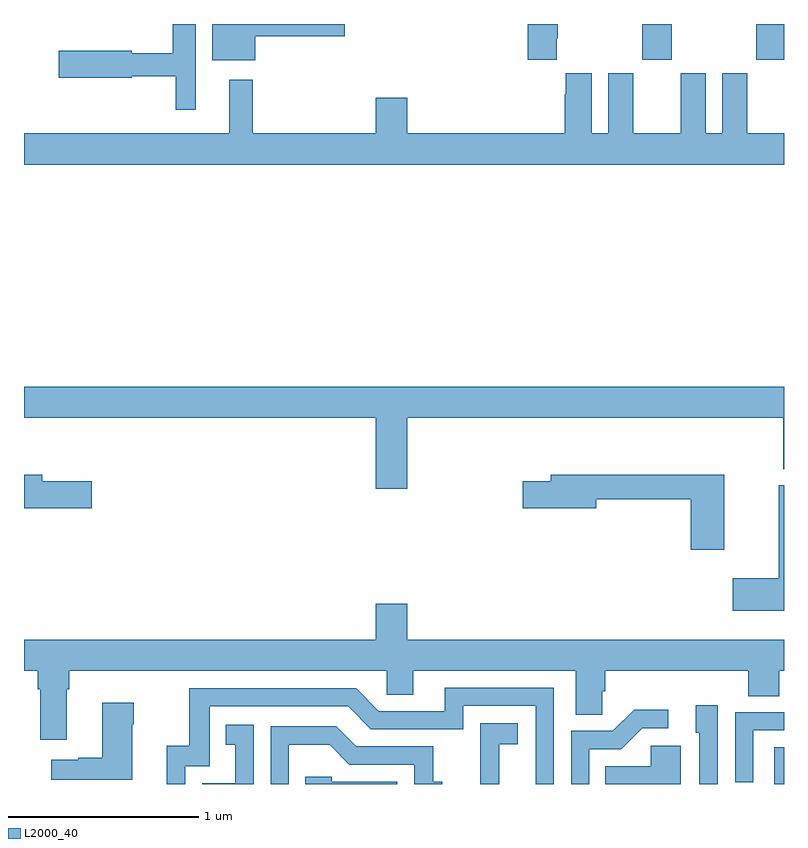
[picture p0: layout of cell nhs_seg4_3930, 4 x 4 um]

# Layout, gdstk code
import gdstk
lib = gdstk.Library(unit=1e-6, precision=1e-09)
def R(c, l, rs):  # rectangles x0, y0, x1, y1
    for r in rs: c.add(gdstk.rectangle(r[:2], r[2:], *l))
def P(c, l, *ps):  # polygons
    for p in ps: c.add(gdstk.Polygon(p, *l))
L2000_40 = (2000, 40)

nhs_seg4_3930 = lib.new_cell('nhs_seg4_3930')
R(nhs_seg4_3930, L2000_40, [(322.949,786.9,323,787.093), (322.255,790.713,322.41,790.9), (322.855,790.713,323,790.9)])
P(nhs_seg4_3930, L2000_40, [(319.903,790.9),(319.782,790.9),(319.782,790.747),(319.566,790.747),(319.566,790.76),(319.182,790.76),(319.182,790.618),(319.566,790.618),(319.566,790.626),(319.799,790.626),(319.799,790.449),(319.903,790.449)],
  [(321.805,790.825),(321.81,790.825),(321.81,790.9),(321.65,790.9),(321.65,790.713),(321.805,790.713)],
  [(320.218,790.835),(320.689,790.835),(320.689,790.9),(319.991,790.9),(319.991,790.709),(320.218,790.709)],
  [(322.457,790.642),(322.457,790.324),(322.207,790.324),(322.207,790.642),(322.076,790.642),(322.076,790.324),(321.988,790.324),(321.988,790.642),(321.851,790.642),(321.851,790.529),(321.845,790.529),(321.845,790.324),(321.016,790.324),(321.016,790.513),(320.852,790.513),(320.852,790.324),(320.203,790.324),(320.203,790.606),(320.081,790.606),(320.081,790.324),(319,790.324),(319,790.16),(323,790.16),(323,790.324),(322.807,790.324),(322.807,790.642),(322.676,790.642),(322.676,790.324),(322.588,790.324),(322.588,790.642)],
  [(321.016,788.828),(322.995,788.828),(322.995,788.557),(323,788.557),(323,788.992),(319,788.992),(319,788.828),(320.852,788.828),(320.852,788.454),(321.016,788.454)],
  [(319.357,788.493),(319.096,788.493),(319.096,788.527),(319,788.527),(319,788.351),(319.357,788.351)],
  [(322.686,788.527),(321.773,788.527),(321.773,788.493),(321.624,788.493),(321.624,788.351),(322.012,788.351),(322.012,788.398),(322.508,788.398),(322.508,788.133),(322.686,788.133)],
  [(323,788.472),(322.972,788.472),(322.972,787.982),(322.731,787.982),(322.731,787.811),(323,787.811)],
  [(319.225,787.4),(319.238,787.4),(319.238,787.496),(320.91,787.496),(320.91,787.369),(321.049,787.369),(321.049,787.496),(321.905,787.496),(321.905,787.264),(322.044,787.264),(322.044,787.387),(322.058,787.387),(322.058,787.496),(322.811,787.496),(322.811,787.363),(322.976,787.363),(322.976,787.496),(323,787.496),(323,787.66),(321.016,787.66),(321.016,787.849),(320.852,787.849),(320.852,787.66),(319,787.66),(319,787.496),(319.073,787.496),(319.073,787.4),(319.085,787.4),(319.085,787.134),(319.225,787.134)],
  [(319.848,786.993),(319.977,786.993),(319.977,787.308),(320.706,787.308),(320.826,787.188),(321.312,787.188),(321.312,787.311),(321.693,787.311),(321.693,786.9),(321.789,786.9),(321.789,787.407),(321.215,787.407),(321.215,787.284),(320.868,787.284),(320.748,787.404),(319.869,787.404),(319.869,787.102),(319.751,787.102),(319.751,786.9),(319.848,786.9)],
  [(319.57,787.214),(319.578,787.214),(319.578,787.327),(319.412,787.327),(319.412,787.037),(319.286,787.037),(319.286,787.027),(319.143,787.027),(319.143,786.923),(319.57,786.923)],
  [(322.65,787.315),(322.535,787.315),(322.535,787.17),(322.554,787.17),(322.554,786.9),(322.65,786.9)],
  [(321.975,787.083),(322.144,787.083),(322.255,787.194),(322.39,787.194),(322.39,787.292),(322.211,787.292),(322.098,787.179),(321.879,787.179),(321.879,786.9),(321.975,786.9)],
  [(322.839,787.182),(323,787.182),(323,787.278),(322.743,787.278),(322.743,786.909),(322.839,786.909)],
  [(321.5,787.109),(321.598,787.109),(321.598,787.219),(321.4,787.219),(321.4,787.013),(321.401,787.013),(321.401,786.9),(321.5,786.9)],
  [(320.208,787.213),(320.062,787.213),(320.062,787.107),(320.111,787.107),(320.111,786.903),(319.938,786.903),(319.938,786.9),(320.208,786.9)],
  [(320.394,787.106),(320.608,787.106),(320.712,787.002),(321.054,787.002),(321.054,786.9),(321.202,786.9),(321.202,786.913),(321.153,786.913),(321.153,787.098),(320.749,787.098),(320.644,787.203),(320.298,787.203),(320.298,786.9),(320.394,786.9)],
  [(322.456,787.102),(322.299,787.102),(322.299,786.994),(322.06,786.994),(322.06,786.9),(322.456,786.9)],
  [(320.964,786.912),(320.619,786.912),(320.619,786.939),(320.479,786.939),(320.479,786.9),(320.964,786.9)])

lib.write_gds('nhs_seg4_3930.gds')
